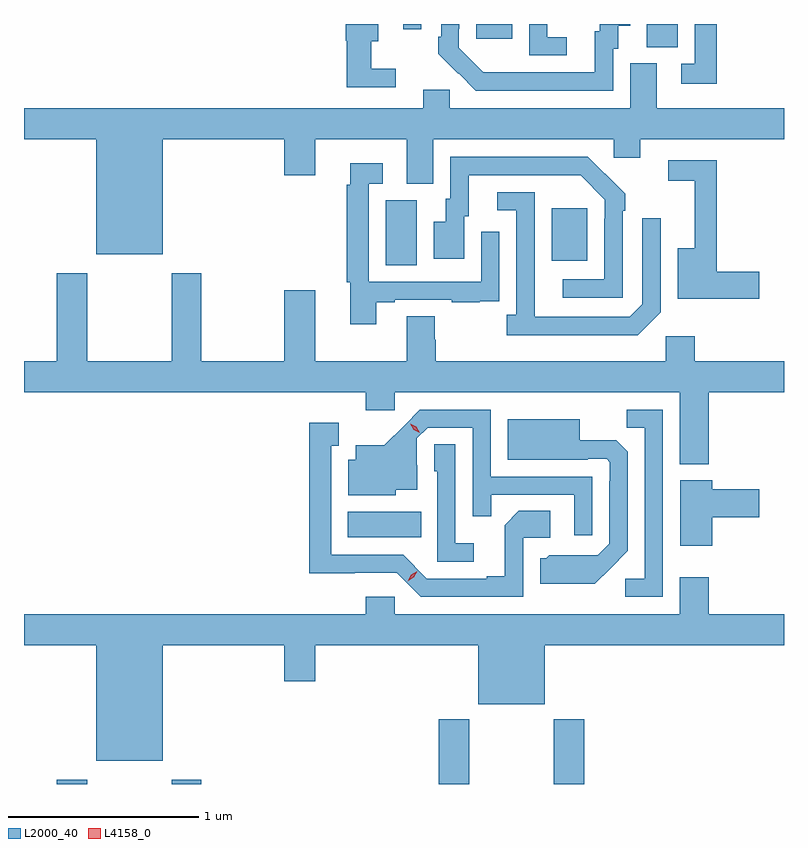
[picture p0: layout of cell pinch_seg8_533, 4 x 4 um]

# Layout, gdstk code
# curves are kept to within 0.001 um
import gdstk
lib = gdstk.Library(unit=1e-6, precision=1e-09)
def R(c, l, rs):  # rectangles x0, y0, x1, y1
    for r in rs: c.add(gdstk.rectangle(r[:2], r[2:], *l))
def P(c, l, *ps):  # polygons
    for p in ps: c.add(gdstk.Polygon(p, *l))
L2000_40 = (2000, 40)
L4158_0 = (4158, 0)

pinch_seg8_533 = lib.new_cell('pinch_seg8_533')
R(pinch_seg8_533, L2000_40, [(115.859,1119.767,116.019,1119.79), (116.464,1119.767,116.619,1119.79), (117.869,1119.767,118.029,1120.108), (118.474,1119.767,118.634,1120.108), (117.389,1121.066,117.776,1121.2), (117.59,1122.496,117.754,1122.84), (118.463,1122.521,118.651,1122.796), (118.964,1123.645,119.128,1123.767), (118.067,1123.689,118.255,1123.767), (117.681,1123.74,117.777,1123.767)])
P(pinch_seg8_533, L2000_40, [(117.643,1123.531),(117.514,1123.531),(117.514,1123.676),(117.55,1123.676),(117.55,1123.767),(117.38,1123.767),(117.38,1123.68),(117.385,1123.68),(117.385,1123.434),(117.643,1123.434)],
  [(119.333,1123.767),(119.217,1123.767),(119.217,1123.557),(119.145,1123.557),(119.145,1123.452),(119.333,1123.452)],
  [(118.543,1123.698),(118.44,1123.698),(118.44,1123.767),(118.344,1123.767),(118.344,1123.602),(118.543,1123.602)],
  [(118.788,1123.638),(118.813,1123.638),(118.813,1123.757),(118.876,1123.757),(118.876,1123.767),(118.715,1123.767),(118.715,1123.728),(118.691,1123.728),(118.691,1123.512),(118.104,1123.513),(117.975,1123.641),(117.975,1123.741),(117.978,1123.741),(117.978,1123.767),(117.882,1123.767),(117.882,1123.699),(117.867,1123.699),(117.867,1123.611),(118.064,1123.416),(118.788,1123.416)],
  [(116.416,1123.16),(117.056,1123.16),(117.056,1122.972),(117.22,1122.972),(117.22,1123.16),(117.701,1123.16),(117.701,1122.925),(117.841,1122.925),(117.841,1123.16),(118.791,1123.16),(118.791,1123.062),(118.93,1123.062),(118.93,1123.16),(119.686,1123.16),(119.686,1123.324),(119.017,1123.324),(119.017,1123.56),(118.877,1123.56),(118.877,1123.324),(117.927,1123.324),(117.927,1123.422),(117.788,1123.422),(117.788,1123.324),(115.686,1123.324),(115.686,1123.16),(116.066,1123.16),(116.066,1122.554),(116.416,1122.554)],
  [(118.836,1122.785),(118.851,1122.785),(118.851,1122.873),(118.654,1123.068),(117.93,1123.068),(117.93,1122.846),(117.905,1122.846),(117.905,1122.727),(117.842,1122.727),(117.842,1122.531),(118.003,1122.531),(118.003,1122.756),(118.027,1122.756),(118.027,1122.972),(118.615,1122.972),(118.743,1122.843),(118.743,1122.743),(118.74,1122.743),(118.74,1122.423),(118.521,1122.423),(118.521,1122.327),(118.836,1122.327)],
  [(119.557,1122.464),(119.333,1122.464),(119.333,1123.05),(119.076,1123.05),(119.076,1122.942),(119.216,1122.942),(119.216,1122.586),(119.126,1122.586),(119.126,1122.322),(119.557,1122.322)],
  [(117.541,1122.303),(117.637,1122.303),(117.637,1122.315),(117.937,1122.315),(117.937,1122.303),(118.085,1122.303),(118.085,1122.309),(118.187,1122.309),(118.187,1122.418),(118.188,1122.418),(118.188,1122.673),(118.092,1122.673),(118.092,1122.411),(117.501,1122.411),(117.501,1122.927),(117.574,1122.927),(117.574,1123.033),(117.404,1123.033),(117.404,1122.92),(117.385,1122.92),(117.385,1122.408),(117.404,1122.408),(117.404,1122.186),(117.541,1122.186)],
  [(119.037,1122.249),(119.037,1122.745),(118.941,1122.745),(118.941,1122.291),(118.875,1122.225),(118.375,1122.225),(118.374,1122.882),(118.176,1122.882),(118.176,1122.786),(118.278,1122.786),(118.278,1122.238),(118.227,1122.238),(118.227,1122.128),(118.916,1122.128)],
  [(119.291,1121.828),(119.686,1121.828),(119.686,1121.992),(119.216,1121.992),(119.216,1122.124),(119.064,1122.124),(119.064,1121.992),(117.854,1121.992),(117.854,1122.105),(117.849,1122.105),(117.849,1122.23),(117.701,1122.23),(117.701,1121.992),(117.22,1121.992),(117.22,1122.367),(117.056,1122.367),(117.056,1121.992),(116.619,1121.992),(116.619,1122.454),(116.464,1122.454),(116.464,1121.992),(116.019,1121.992),(116.019,1122.454),(115.859,1122.454),(115.859,1121.992),(115.686,1121.992),(115.686,1121.828),(117.485,1121.828),(117.485,1121.733),(117.636,1121.733),(117.636,1121.828),(119.138,1121.828),(119.138,1121.45),(119.291,1121.45)],
  [(118.677,1121.385),(118.143,1121.385),(118.143,1121.736),(117.77,1121.736),(117.583,1121.551),(117.431,1121.551),(117.431,1121.473),(117.392,1121.473),(117.392,1121.288),(117.642,1121.288),(117.642,1121.315),(117.757,1121.315),(117.757,1121.444),(117.753,1121.444),(117.753,1121.586),(117.81,1121.643),(118.047,1121.643),(118.047,1121.176),(118.145,1121.176),(118.145,1121.289),(118.581,1121.289),(118.581,1121.076),(118.677,1121.076)],
  [(119.049,1121.736),(118.858,1121.736),(118.858,1121.641),(118.953,1121.641),(118.953,1120.848),(118.851,1120.848),(118.851,1120.752),(119.049,1120.752)],
  [(118.771,1120.901),(118.863,1120.994),(118.863,1121.516),(118.804,1121.575),(118.612,1121.575),(118.612,1121.686),(118.232,1121.686),(118.232,1121.474),(118.652,1121.474),(118.652,1121.478),(118.752,1121.478),(118.77,1121.46),(118.77,1121.36),(118.767,1121.36),(118.767,1121.031),(118.707,1120.971),(118.45,1120.972),(118.434,1120.956),(118.403,1120.956),(118.403,1120.82),(118.691,1120.82)],
  [(118.314,1121.064),(118.456,1121.064),(118.456,1121.204),(118.291,1121.204),(118.215,1121.128),(118.215,1120.861),(118.121,1120.861),(118.121,1120.848),(117.807,1120.848),(117.681,1120.974),(117.304,1120.974),(117.304,1121.547),(117.343,1121.547),(117.343,1121.668),(117.186,1121.668),(117.186,1120.877),(117.648,1120.878),(117.774,1120.752),(118.314,1120.752)],
  [(118.054,1121.035),(117.957,1121.035),(117.957,1121.555),(117.846,1121.555),(117.846,1121.412),(117.861,1121.412),(117.861,1120.938),(118.054,1120.938)],
  [(119.308,1121.171),(119.557,1121.171),(119.557,1121.318),(119.308,1121.318),(119.308,1121.365),(119.141,1121.365),(119.141,1121.022),(119.308,1121.022)],
  [(116.416,1120.496),(117.056,1120.496),(117.056,1120.308),(117.22,1120.308),(117.22,1120.496),(118.076,1120.496),(118.076,1120.187),(118.426,1120.187),(118.426,1120.496),(119.686,1120.496),(119.686,1120.66),(119.291,1120.66),(119.291,1120.855),(119.138,1120.855),(119.138,1120.66),(117.636,1120.66),(117.636,1120.753),(117.485,1120.753),(117.485,1120.66),(115.686,1120.66),(115.686,1120.496),(116.066,1120.496),(116.066,1119.89),(116.416,1119.89)])
P(pinch_seg8_533, L4158_0, [(117.768,1121.617),(117.737,1121.632),(117.719,1121.662),(117.719,1121.662),(117.72,1121.662),(117.75,1121.647),(117.768,1121.617),(117.768,1121.617)],
  [(117.705,1120.835),(117.705,1120.835),(117.723,1120.868),(117.755,1120.887),(117.755,1120.887),(117.755,1120.887),(117.737,1120.854),(117.706,1120.835)])

lib.write_gds('pinch_seg8_533.gds')
